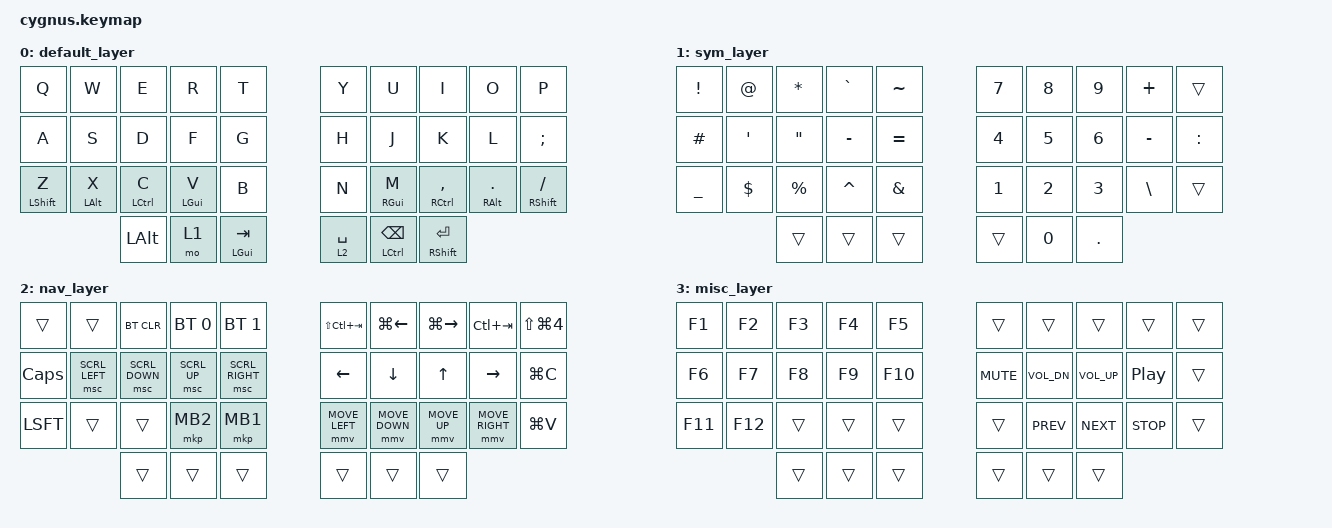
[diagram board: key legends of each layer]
#include <behaviors.dtsi> 
#include <dt-bindings/zmk/bt.h>
#include <dt-bindings/zmk/keys.h>
#include <dt-bindings/zmk/pointing.h>

/ {
    conditional_layers {
        compatible = "zmk,conditional-layers";
        tri_layer {
            if-layers = <1 2>;
            then-layer = <3>;
        };
    };

    combos {
        compatible = "zmk,combos";
        sd_shift {
            bindings = <&td0>;
            key-positions = <11 12>;
        };
        rt_lparen {
            bindings = <&kp LPAR>;
            key-positions = <3 4>;
        };
        fg_lbrace {
            bindings = <&kp LBRC>;
            key-positions = <13 14>;
        };
        vb_lbracket {
            bindings = <&kp LBKT>;
            key-positions = <23 24>;
        };
        yu_rparen {
            bindings = <&kp RPAR>;
            key-positions = <5 6>;
        };
        hj_rbracket {
            bindings = <&kp RBKT>;
            key-positions = <15 16>;
        };
        nm_rbrace {
            bindings = <&kp RBRC>;
            key-positions = <25 26>;
        };
        jk_esc {
            bindings = <&kp ESC>;
            key-positions = <16 17>;
        };
        lsemi_grave {
            bindings = <&kp SQT>;
            key-positions = <18 19>;
        };
    };

    behaviors {
        mt: mod_tap {
            compatible = "zmk,behavior-hold-tap";
            #binding-cells = <2>;
            flavor = "tap-preferred";
            tapping-term-ms = <200>;
            bindings = <&kp>, <&kp>;
            display-name = "Mod-Tap";
        };
        lt: layer_tap {
            compatible = "zmk,behavior-hold-tap";
            #binding-cells = <2>;
            flavor = "tap-preferred";
            tapping-term-ms = <200>;
            bindings = <&mo>, <&kp>;
            display-name = "Layer-Tap";
        };
        os: os {
            compatible = "zmk,behavior-sticky-key";
            #binding-cells = <1>;
            bindings = <&kp>;
            release-after-ms = <1000>;
            quick-release;
            ignore-modifiers;
        };
        td0: tap_dance_0 {
            compatible = "zmk,behavior-tap-dance";
            #binding-cells = <0>;
            tapping-term-ms = <200>;
            bindings = <&os LSHFT>, <&kp CAPSLOCK>;
        };
    };

    keymap {
        compatible = "zmk,keymap";

        default_layer {
            bindings = <
&kp Q        &kp W       &kp E        &kp R       &kp T           &kp Y        &kp U           &kp I            &kp O         &kp P
&kp A        &kp S       &kp D        &kp F       &kp G           &kp H        &kp J           &kp K            &kp L         &kp SEMI
&mt LSHFT Z  &mt LALT X  &mt LCTRL C  &mt LGUI V  &kp B           &kp N        &mt RGUI M      &mt RCTRL COMMA  &mt RALT DOT  &mt RSHFT FSLH
                        &kp LALT      &mo 1       &mt LGUI TAB    &lt 2 SPACE  &mt LCTRL BSPC  &mt RSHFT RET
            >;
        };

        sym_layer {
            bindings = <
&kp EXCL   &kp AT    &kp STAR   &kp GRAVE  &kp TILDE    &kp N7  &kp N8  &kp N9  &kp PLUS   &trans
&kp HASH   &kp SQT   &kp DQT    &kp MINUS  &kp EQUAL    &kp N4  &kp N5  &kp N6  &kp MINUS  &kp COLON
&kp UNDER  &kp DLLR  &kp PRCNT  &kp CARET  &kp AMPS     &kp N1  &kp N2  &kp N3  &kp BSLH   &trans
                     &trans     &trans     &trans       &trans  &kp N0  &kp DOT
            >;
        };

        nav_layer {
            bindings = <
&trans    &trans          &bt BT_CLR      &bt BT_SEL 0  &bt BT_SEL 1       &kp LS(LC(TAB)) &kp LG(LEFT)    &kp LG(RIGHT) &kp LC(TAB)      &kp LS(LG(N4))
&kp CAPS  &msc SCRL_LEFT  &msc SCRL_DOWN  &msc SCRL_UP  &msc SCRL_RIGHT    &kp LEFT        &kp DOWN        &kp UP        &kp RIGHT        &kp LG(C)
&kp LSFT  &trans          &trans          &mkp MB2      &mkp MB1           &mmv MOVE_LEFT  &mmv MOVE_DOWN  &mmv MOVE_UP  &mmv MOVE_RIGHT  &kp LG(V)
                          &trans          &trans        &trans             &trans          &trans          &trans
            >;
        };

        misc_layer {
            bindings = <
&kp F1   &kp F2   &kp F3  &kp F4  &kp F5     &trans      &trans        &trans        &trans      &trans
&kp F6   &kp F7   &kp F8  &kp F9  &kp F10    &kp C_MUTE  &kp C_VOL_DN  &kp C_VOL_UP  &kp C_PP    &trans
&kp F11  &kp F12  &trans  &trans  &trans     &trans      &kp C_PREV    &kp C_NEXT    &kp C_STOP  &trans
                  &trans  &trans  &trans     &trans      &trans        &trans
            >;
        };
    };
};
